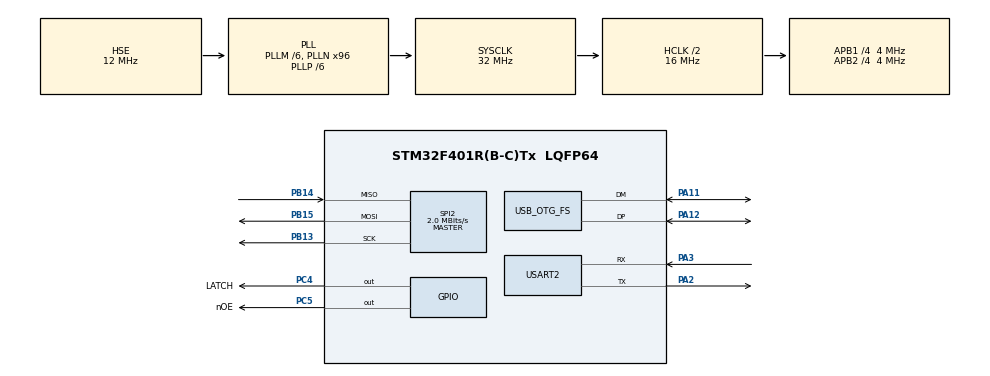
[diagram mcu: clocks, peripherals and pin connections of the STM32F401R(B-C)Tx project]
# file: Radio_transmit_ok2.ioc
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Mcu.Family=STM32F4
Mcu.Name=STM32F401R(B-C)Tx
Mcu.Package=LQFP64
NVIC.OTG_FS_IRQn=true\:0\:0\:false\:false\:true\:false\:true\:true
NVIC.PriorityGroup=NVIC_PRIORITYGROUP_4
PA11.Mode=Device_Only
PA11.Signal=USB_OTG_FS_DM
PA12.Mode=Device_Only
PA12.Signal=USB_OTG_FS_DP
PA2.Mode=Asynchronous
PA2.Signal=USART2_TX
PA3.Mode=Asynchronous
PA3.Signal=USART2_RX
PB13.Mode=Full_Duplex_Master
PB13.Signal=SPI2_SCK
PB14.Mode=Full_Duplex_Master
PB14.Signal=SPI2_MISO
PB15.Mode=Full_Duplex_Master
PB15.Signal=SPI2_MOSI
PC4.GPIO_Label=LATCH
PC4.Signal=GPIO_Output
PC5.GPIO_Label=nOE
PC5.PinState=GPIO_PIN_SET
PC5.Signal=GPIO_Output
PH0\ -\ OSC_IN.Mode=HSE-External-Oscillator
PH0\ -\ OSC_IN.Signal=RCC_OSC_IN
PH1\ -\ OSC_OUT.Mode=HSE-External-Oscillator
PH1\ -\ OSC_OUT.Signal=RCC_OSC_OUT
ProjectManager.HeapSize=0x200
ProjectManager.StackSize=0x400
ProjectManager.TargetToolchain=STM32CubeIDE
RCC.48MHZClocksFreq_Value=48000000
RCC.AHBCLKDivider=RCC_SYSCLK_DIV2
RCC.AHBFreq_Value=16000000
RCC.APB1CLKDivider=RCC_HCLK_DIV4
RCC.APB1Freq_Value=4000000
RCC.APB1TimFreq_Value=8000000
RCC.APB2CLKDivider=RCC_HCLK_DIV4
RCC.APB2Freq_Value=4000000
RCC.APB2TimFreq_Value=8000000
RCC.CortexFreq_Value=2000000
RCC.Cortex_Div=SYSTICK_CLKSOURCE_HCLK_DIV8
RCC.HCLKFreq_Value=16000000
RCC.HSE_VALUE=12000000
RCC.HSI_VALUE=16000000
RCC.LSE_VALUE=32768
RCC.PLLM=6
RCC.PLLN=96
RCC.PLLP=RCC_PLLP_DIV6
RCC.SYSCLKFreq_VALUE=32000000
RCC.SYSCLKSource=RCC_SYSCLKSOURCE_PLLCLK
RCC.VCOOutputFreq_Value=192000000
SPI2.BaudRatePrescaler=SPI_BAUDRATEPRESCALER_2
SPI2.CalculateBaudRate=2.0 MBits/s
SPI2.Direction=SPI_DIRECTION_2LINES
SPI2.FirstBit=SPI_FIRSTBIT_MSB
SPI2.Mode=SPI_MODE_MASTER
SPI2.VirtualType=VM_MASTER
USART2.VirtualMode=VM_ASYNC
USB_DEVICE.CLASS_NAME_FS=CDC
USB_DEVICE.VirtualMode=Cdc
USB_DEVICE.VirtualModeFS=Cdc_FS
USB_OTG_FS.VirtualMode=Device_Only
VP_USB_DEVICE_VS_USB_DEVICE_CDC_FS.Mode=CDC_FS
board=custom

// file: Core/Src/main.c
/* USER CODE BEGIN Header */
/**
  ******************************************************************************
  * @file           : main.c
  * @brief          : Main program body
  ******************************************************************************
  * @attention
  *
  * Copyright (c) 2022 STMicroelectronics.
  * All rights reserved.
  *
  * This software is licensed under terms that can be found in the LICENSE file
  * in the root directory of this software component.
  * If no LICENSE file comes with this software, it is provided AS-IS.
  *
  ******************************************************************************
  */
/* USER CODE END Header */
#include "main.h"
#include "usb_device.h"

/* USER CODE BEGIN Includes */
#include "stdio.h"
#include "limits.h"
#include "stdbool.h"
#include "NRF24L01_macros.h"
#include "usbd_cdc_if.h"
/* USER CODE END Includes */

/* USER CODE BEGIN PTD */
#define inputSize (160) // wave your hands in the air like you don't care
/* USER CODE END PTD */

/* USER CODE BEGIN PD */
#define latch()   HAL_GPIO_WritePin(LATCH_GPIO_Port, LATCH_Pin, GPIO_PIN_SET);\
  	HAL_Delay(1);\
  	HAL_GPIO_WritePin(LATCH_GPIO_Port, LATCH_Pin, GPIO_PIN_RESET)
/* USER CODE END PD */

 SPI_HandleTypeDef hspi2;

UART_HandleTypeDef huart2;

/* USER CODE BEGIN PV */
uint8_t regD= 0b00000110; //состояние сдвиговика
/* USER CODE END PV */

void SystemClock_Config(void);
static void MX_GPIO_Init(void);
static void MX_SPI2_Init(void);
static void MX_USART2_UART_Init(void);
/* USER CODE BEGIN PFP */
void NRF_Transmit(uint8_t *data);
/* USER CODE END PFP */

/* USER CODE BEGIN 0 */
void RF_ShiftRegs(){
			HAL_GPIO_WritePin(RF_SRE_GPIO_Port, RF_SRE_Pin, 1); //shiftreg 2 HiZ
			uint8_t buf;
			HAL_GPIO_WritePin(RF_SRL_GPIO_Port, RF_SRL_Pin, 0);  //отключаем защёлку

			HAL_SPI_TransmitReceive(&hspi2, &regD, &buf, 1, 5000);  //отправляем данные для сдвигового регистра со светодиодами

			HAL_GPIO_WritePin(RF_SRL_GPIO_Port, RF_SRL_Pin, 1);  //включаем защёлку
			HAL_GPIO_WritePin(RF_SRE_GPIO_Port, RF_SRE_Pin, 0);  //shitfreg вывести из HiZ
}

void NRF_cs(uint8_t flag){
		if(flag==0)
			{
			regD &=~(1<<1);
			//HAL_GPIO_WritePin(NRF_CS_GPIO_Port,NRF_CS_Pin,0);
			}
		else
			{
			regD |= 1<<1;
			//HAL_GPIO_WritePin(NRF_CS_GPIO_Port,NRF_CS_Pin,1);
			}
		RF_ShiftRegs();
}

void NRF_ce(uint8_t flag){
	/*
		 * Данная функция нужна для управления ножкой CE NRF
		 * Если на вход подаётся 0, то на ножке появляется ноль, если другое число, то единица
		 */

		if(flag==0)
		{
			regD &=~(1<<0);
			//HAL_GPIO_WritePin(NRF_CE_GPIO_Port,NRF_CE_Pin,0);
		}
		else
			{
			regD |= 1<<0;
			//HAL_GPIO_WritePin(NRF_CE_GPIO_Port,NRF_CE_Pin,1);
			}
		RF_ShiftRegs();
}

void NRF_write_reg(uint8_t reg, uint8_t val){
	NRF_cs(0);

	reg |= NRF_WRITE_MASK;
	uint8_t buf;
	HAL_SPI_TransmitReceive(&hspi2, &reg, &buf, sizeof(reg), 10000);
	HAL_SPI_TransmitReceive(&hspi2, &val, &buf, sizeof(val), 10000);

	NRF_cs(1);
}

uint8_t NRF_read_reg(uint8_t reg){
	uint8_t rx_data;
	NRF_cs(0);

	HAL_SPI_TransmitReceive(&hspi2, &reg, &rx_data, 1, 10000);
	if(reg != NRF_REG_STATUS)
		{
			reg=NOP;

			HAL_SPI_TransmitReceive(&hspi2, &reg, &rx_data, 1, 500);
		}

	NRF_cs(1);

	return rx_data;
}

void NRF_burst_write(uint8_t reg, uint8_t *data, uint8_t len){// not used

	NRF_cs(0);

	uint8_t buf;
	uint8_t tmp = NRF_WRITE_MASK | reg;
	HAL_SPI_TransmitReceive(&hspi2, &tmp, &buf, sizeof(tmp), 10000);
	HAL_SPI_TransmitReceive(&hspi2, data, &buf, sizeof(data), 10000);

	NRF_cs(1);
}

void NRF_initialization(){
HAL_Delay(150); //задержка включения
uint8_t NRF_TX_ADDR[5] = {0x01,0x02,0x03,0x04,0x05}; // {0xff,0x00,0x00,0x00,0xff}; //address of transmitter
uint8_t NRF_RX_ADDR[5] = {0x01,0x02,0x03,0x04,0x05} /*= {0xff,0x00,0x00,0x00,0xff} = {0xD1,0xD2,0xD3,0xD4,0xD5}*/; // Адрес приёмника

//////////////////////////////////////////////////////////// Start Initialization
 uint8_t FANTOM_CONFIG = NRF_REG_CONFIG_PWR_UP | NRF_REG_CONFIG_CRCO | NRF_REG_CONFIG_EN_CRC; //присваиваем переменной значение бита PWR_UP в 1 и выбираем CRC в 2 байта и включение режима приёмника.
NRF_write_reg(NRF_REG_CONFIG, FANTOM_CONFIG); // go to Standby-I mode

HAL_Delay(200);
//Сейчас мы в Standby-I mode
//FANTOM_CONFIG = FANTOM_CONFIG & (~(NRF_REG_CONFIG_EN_CRC)); // присваиваем переменной значение бита EN_CRC в 0
///////////////////////////////////////////////////////////// Запись в регистр CONFIG SPDR = 0b00100110;
//NRF_write_reg(NRF_REG_CONFIG, FANTOM_CONFIG); //нафиг
HAL_Delay(2);
/////////////////////////////////////////////////////////////Disable fucking EN_AA
NRF_write_reg(NRF_REG_EN_AA, 0x00);
/////////////////////////////////////////////////////////////Выбор pipe0
NRF_write_reg(NRF_REG_EN_RXADDR, NRF_REG_EN_RXADDR_ERX_P0);
///////////////////////////////////////////////////////////// Настраиваем частоту волны на 2400 МГЦ
NRF_write_reg(NRF_REG_RF_CH, 0x00);
////////////////////////////////////////////////////////////Настраиваем длину адреса на 5 байт
NRF_write_reg(NRF_REG_SETUP_AW, NRF_REG_SETUP_AW_AW0 | NRF_REG_SETUP_AW_AW1);
//////////////////////////////////////////////////////////// Настраиваем приёмник 0b00100110
NRF_write_reg(NRF_REG_RSETUP_AW, NRF_REG_RSETUP_AW_RF_RF_DR_LOW //скорость 250kbts
|NRF_REG_RSETUP_AW_RF_PWR1|NRF_REG_RSETUP_AW_RF_PWR0);// мощность 0dBm
/////////////////////////////////////////////////////////// Настройка длины пакета в RX_PW_P0 в pipe 0 на 32 байта
NRF_write_reg(NRF_REG_RX_PW_P0, NRF_PACKET_SIZE);
///////////////////////////////////////////////////////////Clear Interupt flag in Status
NRF_write_reg(NRF_REG_STATUS, NRF_REG_STATUS_TX_DS
|NRF_REG_STATUS_RX_DR
|NRF_REG_STATUS_MAX_RT); //Нет в файле "Салюта"

/////////////////////////////////////////////////////////// Настраиваем адрес приёмника RX_ADDR_P0 - using default address E7E7E7E7E7
//NRF_burst_write(NRF_REG_RX_ADDR_P0, NRF_RX_ADDR, 5);
///////////////////////////////////////////////////////////Настраиваем адрес передатчика TX_ADDR
//NRF_burst_write(NRF_REG_TX_ADDR, NRF_TX_ADDR, 5);
/////////////////////////////////////////////////////////////Disable fucking dynamic payload
//NRF_write_reg(NRF_DYNPD, 0x00);
/*/*********************************************************Disable fucking dynamic payload*/
//NRF_write_reg(NRF_FEATURE, 0x00);
HAL_Delay(5);
}

void NRF_Transmit(uint8_t *data){
	uint8_t a = 0;
	NRF_ce(0);
	HAL_Delay(1);
#warning missing delay - we use 1 ms instead of 15 microsecs.
	NRF_cs(0);
	uint8_t tmp_com = NRF24_COMMAND_W_TX_PAYLOAD;
	HAL_SPI_Transmit(&hspi2, &tmp_com, sizeof(tmp_com), 1);
	for(uint8_t i = 0; i < 32; i++){
		HAL_SPI_Transmit(&hspi2, &data[i], 1, 1);
#warning hardcode array size - 32.
	}

	HAL_Delay(1);
#warning missing delay - we use 1 ms instead of 2 microsecs.
	NRF_cs(1);
	NRF_ce(1);
	HAL_Delay(1);
#warning missing delay - we use 1 ms instead of 130 microsecs.
	NRF_ce(0);

	while(NRF_read_reg(NRF_REG_FIFO_STATUS) & NRF_REG_FIFO_STATUS_TX_EMPTY){
		a++;
		HAL_Delay(1);
		if(a >= 100) break;
	}

}

char parseResult[] = "\nlatitude is .. ........, longitude is ... ........, height is ......... M\r\n";
char permParseResult[] = "\nlatitude is .. ........, longitude is ... ........, height is ......... M\r\n";

int parseGNSS(uint8_t input[inputSize]){ // we want to find $GPGGA because it contains height, then parse it to spit out the longitude, latitude, height.
	int64_t start = INT_MAX - 1;
	int64_t temp_iter;
	char currentProtocol[6];
	bool identical = true;
	for (int i = 0; i < inputSize; i++){
		if (input[i] == '$'){
			for (int j = i; (j < (i + 6)) && (j < inputSize); j++){
				currentProtocol[j-i] = input[j];
				temp_iter = j;
			}
			if (temp_iter >= inputSize) printf("\nmoved over the edge of the input, trying to find the $GPwhatever, j >= inputSize\r\n");
			for (int j = 0; j < 6; j++){
				if (currentProtocol[j] != "$GPGGA"[j]) identical = false;
			}
			if (identical) {
				start = i;
				break;
			}
			else identical = true;
		}
	}
	// parsing
	if (start == INT_MAX - 1){
		printf("\nparsing failed, start == INT_MAX - 1\r\n");
		return 10;
	}
	int64_t pointer = start;
	while (input[pointer] != ',' && (pointer < inputSize)) {pointer++;} // skip $GPGGA,
	pointer++;
	while (input[pointer] != ',' && (pointer < inputSize)) {pointer++;} // skip time,
	pointer++;

	if (input[pointer] == ',') {} // latitude is missing
	else { // latitude
		parseResult[13] = input[pointer++]; // this is bad, because no && (pointer < inputSize), but ok
		parseResult[14] = input[pointer++];
		parseResult[16] = input[pointer++];
		parseResult[17] = input[pointer++];
		parseResult[18] = input[pointer++];
		parseResult[19] = input[pointer++];
		parseResult[20] = input[pointer++];
		parseResult[21] = input[pointer++];
		parseResult[22] = input[pointer++];
	}
	pointer++;
	//printf("%s\n\n", parseResult); //debug
	if (input[pointer] != ',') { // make sure that north/south isn't missing
		parseResult[23] = input[pointer];
	}
	//printf("%s\n\n", parseResult);//debug
	pointer += 2;

	if (input[pointer] == ',') {} // longitude is missing
	else { // latitude
		parseResult[39] = input[pointer++];
		parseResult[40] = input[pointer++];
		parseResult[41] = input[pointer++];
		parseResult[43] = input[pointer++];
		parseResult[44] = input[pointer++];
		parseResult[45] = input[pointer++];
		parseResult[46] = input[pointer++];
		parseResult[47] = input[pointer++];
		parseResult[48] = input[pointer++];
		parseResult[49] = input[pointer++];
	}
	pointer++;
	if (input[pointer] != ',') { // make sure that hemisphere isn't missing
		parseResult[50] = input[pointer++];
	}
	pointer++;

	while (input[pointer] != ',' && (pointer < inputSize)) {pointer++;} // skip mode,
	pointer++;
	while (input[pointer] != ',' && (pointer < inputSize)) {pointer++;} // skip number of used sattelites,
	pointer++;
	while (input[pointer] != ',' && (pointer < inputSize)) {pointer++;} // skip HDOP, whatever it is
	pointer++;
	// height
	for (int i = pointer; ((i - pointer) < 9) && (i < inputSize); i++){ // pointer+1 because I wanna to put ">" in there if there are too many symbols.
		if (input[i] == ',') break;
		parseResult[63 + i - pointer] = input[i];
		//printf(" i is %u input[i] is %c\r\n", i, input[i]); //debug
	}

	if (pointer >= inputSize){
		printf("\nparsing failed, pointer >= inputSize\r\n");
		return 20;
	}

	return 0;
}
/* USER CODE END 0 */

int main(void)
{

  /* MCU Configuration--------------------------------------------------------*/

  /* Reset of all peripherals, Initializes the Flash interface and the Systick. */
  HAL_Init();

  /* Configure the system clock */
  SystemClock_Config();

  /* Initialize all configured peripherals */
  MX_GPIO_Init();
  MX_SPI2_Init();
  MX_USB_DEVICE_Init();
  MX_USART2_UART_Init();
  /* USER CODE BEGIN 2 */
	//HAL_GPIO_WritePin(nOE_GPIO_Port, nOE_Pin, GPIO_PIN_RESET); //НЕ говорить с nrf
	/*regD = 0xFE; //NRF24_CE_PIN = 0, NRF24_CS_PIN = 1
  	HAL_SPI_Transmit(&hspi2, &regD, 1, 10000);
  	latch();*/
  NRF_initialization();
  uint8_t input[inputSize];
  //NRF_write_reg(NRF_REG_RF_CH, NRF_CHANEL);
  /* USER CODE END 2 */

  /* Infinite loop */
  /* USER CODE BEGIN WHILE */

  while (1)
  {

	  //HAL_Delay(3000);
	  uint8_t str[100];
	  uint8_t hello_str[32] = "Hello";
	  /*for(uint8_t i=0;i<0x1D;i++){
		  uint8_t current_value = NRF_read_reg(i);
		  snprintf(str, sizeof(str), "adr%X = %X ", i, current_value);
		  CDC_Transmit_FS(str, strlen(str));
		  HAL_Delay(300);
		  NRF_Transmit(hello_str);
	  }*/
	  HAL_UART_Receive(&huart2, input, sizeof(input)/sizeof(input[0]), 1000);
	  int j = parseGNSS(input);
	  printf("%s\n\n", parseResult);
	  NRF_Transmit(parseResult);
	  for (int i = 0; i < sizeof(permParseResult)/sizeof(permParseResult[0]); i++){
		  parseResult[i] = permParseResult[i];
	  }
	  HAL_Delay(1000);
    /* USER CODE END WHILE */

  }
}

void SystemClock_Config(void)
{
  RCC_OscInitTypeDef RCC_OscInitStruct = {0};
  RCC_ClkInitTypeDef RCC_ClkInitStruct = {0};

  /** Configure the main internal regulator output voltage
  */
  __HAL_RCC_PWR_CLK_ENABLE();
  __HAL_PWR_VOLTAGESCALING_CONFIG(PWR_REGULATOR_VOLTAGE_SCALE2);

  /** Initializes the RCC Oscillators according to the specified parameters
  * in the RCC_OscInitTypeDef structure.
  */
  RCC_OscInitStruct.OscillatorType = RCC_OSCILLATORTYPE_HSE;
  RCC_OscInitStruct.HSEState = RCC_HSE_ON;
  RCC_OscInitStruct.PLL.PLLState = RCC_PLL_ON;
  RCC_OscInitStruct.PLL.PLLSource = RCC_PLLSOURCE_HSE;
  RCC_OscInitStruct.PLL.PLLM = 6;
  RCC_OscInitStruct.PLL.PLLN = 96;
  RCC_OscInitStruct.PLL.PLLP = RCC_PLLP_DIV6;
  RCC_OscInitStruct.PLL.PLLQ = 4;
  if (HAL_RCC_OscConfig(&RCC_OscInitStruct) != HAL_OK)
  {
    Error_Handler();
  }

  /** Initializes the CPU, AHB and APB buses clocks
  */
  RCC_ClkInitStruct.ClockType = RCC_CLOCKTYPE_HCLK|RCC_CLOCKTYPE_SYSCLK
                              |RCC_CLOCKTYPE_PCLK1|RCC_CLOCKTYPE_PCLK2;
  RCC_ClkInitStruct.SYSCLKSource = RCC_SYSCLKSOURCE_PLLCLK;
  RCC_ClkInitStruct.AHBCLKDivider = RCC_SYSCLK_DIV2;
  RCC_ClkInitStruct.APB1CLKDivider = RCC_HCLK_DIV4;
  RCC_ClkInitStruct.APB2CLKDivider = RCC_HCLK_DIV4;

  if (HAL_RCC_ClockConfig(&RCC_ClkInitStruct, FLASH_LATENCY_0) != HAL_OK)
  {
    Error_Handler();
  }
}

static void MX_SPI2_Init(void)
{

  /* SPI2 parameter configuration*/
  hspi2.Instance = SPI2;
  hspi2.Init.Mode = SPI_MODE_MASTER;
  hspi2.Init.Direction = SPI_DIRECTION_2LINES;
  hspi2.Init.DataSize = SPI_DATASIZE_8BIT;
  hspi2.Init.CLKPolarity = SPI_POLARITY_LOW;
  hspi2.Init.CLKPhase = SPI_PHASE_1EDGE;
  hspi2.Init.NSS = SPI_NSS_SOFT;
  hspi2.Init.BaudRatePrescaler = SPI_BAUDRATEPRESCALER_2;
  hspi2.Init.FirstBit = SPI_FIRSTBIT_MSB;
  hspi2.Init.TIMode = SPI_TIMODE_DISABLE;
  hspi2.Init.CRCCalculation = SPI_CRCCALCULATION_DISABLE;
  hspi2.Init.CRCPolynomial = 10;
  if (HAL_SPI_Init(&hspi2) != HAL_OK)
  {
    Error_Handler();
  }

}

static void MX_USART2_UART_Init(void)
{

  huart2.Instance = USART2;
  huart2.Init.BaudRate = 115200;
  huart2.Init.WordLength = UART_WORDLENGTH_8B;
  huart2.Init.StopBits = UART_STOPBITS_1;
  huart2.Init.Parity = UART_PARITY_NONE;
  huart2.Init.Mode = UART_MODE_TX_RX;
  huart2.Init.HwFlowCtl = UART_HWCONTROL_NONE;
  huart2.Init.OverSampling = UART_OVERSAMPLING_16;
  if (HAL_UART_Init(&huart2) != HAL_OK)
  {
    Error_Handler();
  }

}

static void MX_GPIO_Init(void)
{
  GPIO_InitTypeDef GPIO_InitStruct = {0};

  /* GPIO Ports Clock Enable */
  __HAL_RCC_GPIOH_CLK_ENABLE();
  __HAL_RCC_GPIOA_CLK_ENABLE();
  __HAL_RCC_GPIOC_CLK_ENABLE();
  __HAL_RCC_GPIOB_CLK_ENABLE();

  /*Configure GPIO pin Output Level */
  HAL_GPIO_WritePin(LATCH_GPIO_Port, LATCH_Pin, GPIO_PIN_RESET);

  /*Configure GPIO pin Output Level */
  HAL_GPIO_WritePin(nOE_GPIO_Port, nOE_Pin, GPIO_PIN_SET);

  /*Configure GPIO pins : LATCH_Pin nOE_Pin */
  GPIO_InitStruct.Pin = LATCH_Pin|nOE_Pin;
  GPIO_InitStruct.Mode = GPIO_MODE_OUTPUT_PP;
  GPIO_InitStruct.Pull = GPIO_NOPULL;
  GPIO_InitStruct.Speed = GPIO_SPEED_FREQ_LOW;
  HAL_GPIO_Init(GPIOC, &GPIO_InitStruct);

}

/* USER CODE BEGIN 4 */
int __io_getchar(void){
	uint8_t data;
	HAL_UART_Receive(&huart2, &data, sizeof(data), 1000);
	return data;
}
/* USER CODE END 4 */

void Error_Handler(void)
{
  __disable_irq();
  while (1)
  {
  }
}
